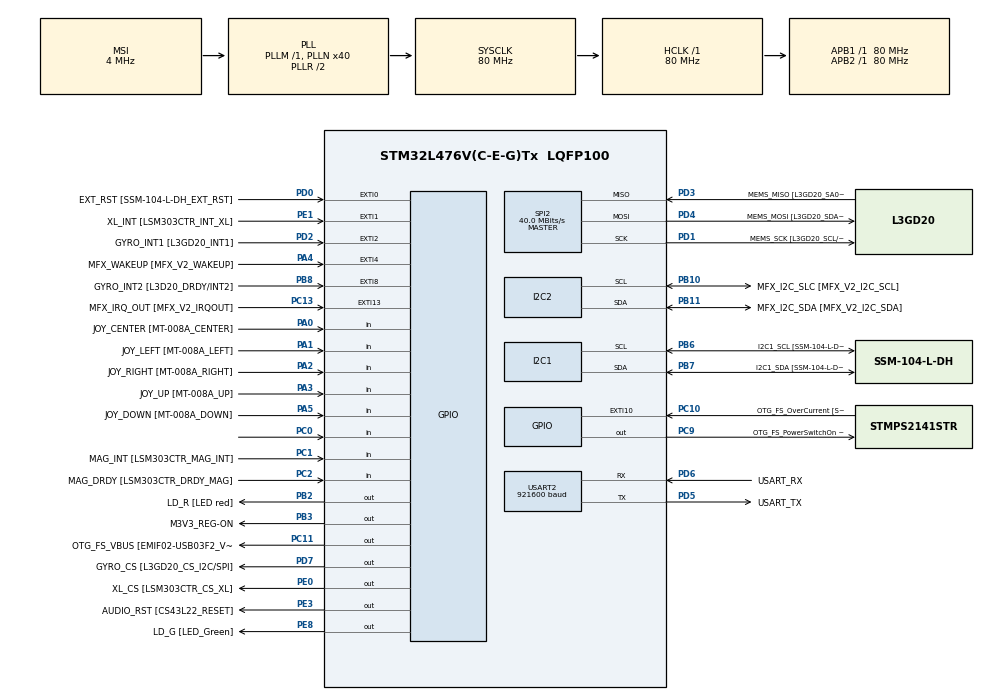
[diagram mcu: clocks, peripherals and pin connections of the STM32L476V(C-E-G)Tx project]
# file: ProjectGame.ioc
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FREERTOS.Mutexes01=display_mutex,Dynamic,NULL
FREERTOS.Tasks01=defaultTask,24,128,StartDefaultTask,Default,NULL,Dynamic,NULL,NULL
FREERTOS.configTIMER_TASK_PRIORITY=5
FREERTOS.configTOTAL_HEAP_SIZE=4000
I2C1.Timing=0x10909CEC
I2C2.Timing=0x10909CEC
Mcu.Family=STM32L4
Mcu.Name=STM32L476V(C-E-G)Tx
Mcu.Package=LQFP100
NVIC.PriorityGroup=NVIC_PRIORITYGROUP_4
NVIC.TIM2_IRQn=true\:5\:0\:false\:false\:true\:true\:true\:true
NVIC.TIM6_DAC_IRQn=true\:0\:0\:false\:false\:true\:false\:false\:true
NVIC.TimeBase=TIM6_DAC_IRQn
NVIC.TimeBaseIP=TIM6
NVIC.USART2_IRQn=true\:5\:0\:false\:false\:true\:true\:true\:true
PA0.GPIO_Label=JOY_CENTER [MT-008A_CENTER]
PA0.GPIO_Mode=GPIO_MODE_INPUT
PA0.GPIO_PuPd=GPIO_PULLDOWN
PA0.Signal=GPIO_Input
PA1.GPIO_Label=JOY_LEFT [MT-008A_LEFT]
PA1.GPIO_Mode=GPIO_MODE_INPUT
PA1.GPIO_PuPd=GPIO_PULLDOWN
PA1.Signal=GPIO_Input
PA10.GPIO_Label=COM2 [GH08172T_COM2]
PA10.GPIO_Mode=GPIO_MODE_AF_PP
PA10.GPIO_PuPd=GPIO_NOPULL
PA10.GPIO_Speed=GPIO_SPEED_FREQ_LOW
PA10.Signal=LCD_COM2
PA11.GPIO_Label=OTG_FS_DM [EMIF02-USB03F2_D-out]
PA11.GPIO_Mode=GPIO_MODE_AF_PP
PA11.GPIO_PuPd=GPIO_NOPULL
PA11.GPIO_Speed=GPIO_SPEED_FREQ_VERY_HIGH
PA11.Signal=USB_OTG_FS_DM
PA12.GPIO_Label=OTG_FS_DP [EMIF02-USB03F2_D+out]
PA12.GPIO_Mode=GPIO_MODE_AF_PP
PA12.GPIO_PuPd=GPIO_NOPULL
PA12.GPIO_Speed=GPIO_SPEED_FREQ_VERY_HIGH
PA12.Signal=USB_OTG_FS_DP
PA13\ (JTMS-SWDIO).GPIO_Label=SWDIO
PA13\ (JTMS-SWDIO).Mode=Serial_Wire
PA13\ (JTMS-SWDIO).Signal=SYS_JTMS-SWDIO
PA14\ (JTCK-SWCLK).GPIO_Label=SWCLK
PA14\ (JTCK-SWCLK).Mode=Serial_Wire
PA14\ (JTCK-SWCLK).Signal=SYS_JTCK-SWCLK
PA15\ (JTDI).GPIO_Label=SEG10 [GH08172T_SEG10]
PA15\ (JTDI).GPIO_Mode=GPIO_MODE_AF_PP
PA15\ (JTDI).GPIO_PuPd=GPIO_NOPULL
PA15\ (JTDI).GPIO_Speed=GPIO_SPEED_FREQ_LOW
PA15\ (JTDI).Signal=LCD_SEG17
PA2.GPIO_Label=JOY_RIGHT [MT-008A_RIGHT]
PA2.GPIO_Mode=GPIO_MODE_INPUT
PA2.GPIO_PuPd=GPIO_PULLDOWN
PA2.Signal=GPIO_Input
PA3.GPIO_Label=JOY_UP [MT-008A_UP]
PA3.GPIO_Mode=GPIO_MODE_INPUT
PA3.GPIO_PuPd=GPIO_PULLDOWN
PA3.Signal=GPIO_Input
PA4.GPIO_Label=MFX_WAKEUP [MFX_V2_WAKEUP]
PA4.GPIO_ModeDefaultEXTI=GPIO_MODE_EVT_RISING
PA4.GPIO_PuPd=GPIO_NOPULL
PA4.Signal=GPXTI4
PA5.GPIO_Label=JOY_DOWN [MT-008A_DOWN]
PA5.GPIO_Mode=GPIO_MODE_INPUT
PA5.GPIO_PuPd=GPIO_PULLDOWN
PA5.Signal=GPIO_Input
PA6.GPIO_Label=SEG23 [GH08172T_SEG23]
PA6.GPIO_Mode=GPIO_MODE_AF_PP
PA6.GPIO_PuPd=GPIO_NOPULL
PA6.GPIO_Speed=GPIO_SPEED_FREQ_LOW
PA6.Signal=LCD_SEG3
PA7.GPIO_Label=SEG0 [GH08172T_SEG0]
PA7.GPIO_Mode=GPIO_MODE_AF_PP
PA7.GPIO_PuPd=GPIO_NOPULL
PA7.GPIO_Speed=GPIO_SPEED_FREQ_LOW
PA7.Signal=LCD_SEG4
PA8.GPIO_Label=COM0 [GH08172T_COM0]
PA8.GPIO_Mode=GPIO_MODE_AF_PP
PA8.GPIO_PuPd=GPIO_NOPULL
PA8.GPIO_Speed=GPIO_SPEED_FREQ_LOW
PA8.Signal=LCD_COM0
PA9.GPIO_Label=COM1 [GH08172T_COM1]
PA9.GPIO_Mode=GPIO_MODE_AF_PP
PA9.GPIO_PuPd=GPIO_NOPULL
PA9.GPIO_Speed=GPIO_SPEED_FREQ_LOW
PA9.Signal=LCD_COM1
PB0.GPIO_Label=SEG21 [GH08172T_SEG21]
PB0.GPIO_Mode=GPIO_MODE_AF_PP
PB0.GPIO_PuPd=GPIO_NOPULL
PB0.GPIO_Speed=GPIO_SPEED_FREQ_LOW
PB0.Signal=LCD_SEG5
PB1.GPIO_Label=SEG2 [GH08172T_SEG2]
PB1.GPIO_Mode=GPIO_MODE_AF_PP
PB1.GPIO_PuPd=GPIO_NOPULL
PB1.GPIO_Speed=GPIO_SPEED_FREQ_LOW
PB1.Signal=LCD_SEG6
PB10.GPIO_Label=MFX_I2C_SLC [MFX_V2_I2C_SCL]
PB10.GPIO_Mode=GPIO_MODE_AF_OD
PB10.GPIO_PuPdOD=GPIO_PULLUP
PB10.GPIO_Speed=GPIO_SPEED_FREQ_VERY_HIGH
PB10.Mode=I2C
PB10.Signal=I2C2_SCL
PB11.GPIO_Label=MFX_I2C_SDA [MFX_V2_I2C_SDA]
PB11.GPIO_Mode=GPIO_MODE_AF_OD
PB11.GPIO_PuPdOD=GPIO_PULLUP
PB11.GPIO_Speed=GPIO_SPEED_FREQ_VERY_HIGH
PB11.Mode=I2C
PB11.Signal=I2C2_SDA
PB12.GPIO_Label=SEG20 [GH08172T_SEG20]
PB12.GPIO_Mode=GPIO_MODE_AF_PP
PB12.GPIO_PuPd=GPIO_NOPULL
PB12.GPIO_Speed=GPIO_SPEED_FREQ_LOW
PB12.Signal=LCD_SEG12
PB13.GPIO_Label=SEG3 [GH08172T_SEG3]
PB13.GPIO_Mode=GPIO_MODE_AF_PP
PB13.GPIO_PuPd=GPIO_NOPULL
PB13.GPIO_Speed=GPIO_SPEED_FREQ_LOW
PB13.Signal=LCD_SEG13
PB14.GPIO_Label=SEG19 [GH08172T_SEG19]
PB14.GPIO_Mode=GPIO_MODE_AF_PP
PB14.GPIO_PuPd=GPIO_NOPULL
PB14.GPIO_Speed=GPIO_SPEED_FREQ_LOW
PB14.Signal=LCD_SEG14
PB15.GPIO_Label=SEG4 [GH08172T_SEG4]
PB15.GPIO_Mode=GPIO_MODE_AF_PP
PB15.GPIO_PuPd=GPIO_NOPULL
PB15.GPIO_Speed=GPIO_SPEED_FREQ_LOW
PB15.Signal=LCD_SEG15
PB2.GPIO_Label=LD_R [LED red]
PB2.GPIO_ModeDefaultOutputPP=GPIO_MODE_OUTPUT_PP
PB2.GPIO_PuPd=GPIO_PULLUP
PB2.GPIO_Speed=GPIO_SPEED_FREQ_VERY_HIGH
PB2.Signal=GPIO_Output
PB3\ (JTDO-TRACESWO).GPIO_Label=M3V3_REG-ON
PB3\ (JTDO-TRACESWO).GPIO_ModeDefaultOutputPP=GPIO_MODE_OUTPUT_PP
PB3\ (JTDO-TRACESWO).GPIO_PuPd=GPIO_NOPULL
PB3\ (JTDO-TRACESWO).GPIO_Speed=GPIO_SPEED_FREQ_LOW
PB3\ (JTDO-TRACESWO).Signal=GPIO_Output
PB4\ (NJTRST).GPIO_Label=SEG11 [GH08172T_SEG11]
PB4\ (NJTRST).GPIO_Mode=GPIO_MODE_AF_PP
PB4\ (NJTRST).GPIO_PuPd=GPIO_NOPULL
PB4\ (NJTRST).GPIO_Speed=GPIO_SPEED_FREQ_LOW
PB4\ (NJTRST).Signal=LCD_SEG8
PB5.GPIO_Label=SEG12 [GH08172T_SEG12]
PB5.GPIO_Mode=GPIO_MODE_AF_PP
PB5.GPIO_PuPd=GPIO_NOPULL
PB5.GPIO_Speed=GPIO_SPEED_FREQ_LOW
PB5.Signal=LCD_SEG9
PB6.GPIO_FM6=__NULL
PB6.GPIO_Label=I2C1_SCL [SSM-104-L-DH_SCL]
PB6.GPIO_Mode=GPIO_MODE_AF_OD
PB6.GPIO_PuPdOD=GPIO_PULLUP
PB6.GPIO_Speed=GPIO_SPEED_FREQ_VERY_HIGH
PB6.Mode=I2C
PB6.Signal=I2C1_SCL
PB7.GPIO_FM7=__NULL
PB7.GPIO_Label=I2C1_SDA [SSM-104-L-DH_SDA]
PB7.GPIO_Mode=GPIO_MODE_AF_OD
PB7.GPIO_PuPdOD=GPIO_PULLUP
PB7.GPIO_Speed=GPIO_SPEED_FREQ_VERY_HIGH
PB7.Mode=I2C
PB7.Signal=I2C1_SDA
PB8.GPIO_Label=GYRO_INT2 [L3D20_DRDY/INT2]
PB8.GPIO_ModeDefaultEXTI=GPIO_MODE_EVT_RISING
PB8.GPIO_PuPd=GPIO_NOPULL
PB8.Signal=GPXTI8
PB9.GPIO_FM9=__NULL
PB9.GPIO_Label=COM3 [GH08172T_COM3]
PB9.GPIO_Mode=GPIO_MODE_AF_PP
PB9.GPIO_PuPd=GPIO_NOPULL
PB9.GPIO_Speed=GPIO_SPEED_FREQ_LOW
PB9.Signal=LCD_COM3
PC0.Signal=GPIO_Input
PC1.GPIO_Label=MAG_INT [LSM303CTR_MAG_INT]
PC1.GPIO_Mode=GPIO_MODE_INPUT
PC1.GPIO_PuPd=GPIO_NOPULL
PC1.Signal=GPIO_Input
PC10.GPIO_Label=OTG_FS_OverCurrent [STMPS2141STR_FAULT]
PC10.GPIO_ModeDefaultEXTI=GPIO_MODE_EVT_RISING
PC10.GPIO_PuPd=GPIO_NOPULL
PC10.Signal=GPXTI10
PC11.GPIO_Label=OTG_FS_VBUS [EMIF02-USB03F2_Vbus]
PC11.GPIO_ModeDefaultOutputPP=GPIO_MODE_OUTPUT_PP
PC11.GPIO_PuPd=GPIO_NOPULL
PC11.GPIO_Speed=GPIO_SPEED_FREQ_LOW
PC11.Signal=GPIO_Output
PC13.GPIO_Label=MFX_IRQ_OUT [MFX_V2_IRQOUT]
PC13.GPIO_ModeDefaultEXTI=GPIO_MODE_EVT_RISING
PC13.GPIO_PuPd=GPIO_NOPULL
PC13.Signal=GPXTI13
PC14-OSC32_IN\ (PC14).Mode=LSE-External-Oscillator
PC14-OSC32_IN\ (PC14).Signal=RCC_OSC32_IN
PC15-OSC32_OUT\ (PC15).Mode=LSE-External-Oscillator
PC15-OSC32_OUT\ (PC15).Signal=RCC_OSC32_OUT
PC2.GPIO_Label=MAG_DRDY [LSM303CTR_DRDY_MAG]
PC2.GPIO_Mode=GPIO_MODE_INPUT
PC2.GPIO_PuPd=GPIO_NOPULL
PC2.Signal=GPIO_Input
PC3.GPIO_Label=VLCD
PC3.GPIO_Mode=GPIO_MODE_AF_PP
PC3.GPIO_PuPd=GPIO_NOPULL
PC3.GPIO_Speed=GPIO_SPEED_FREQ_LOW
PC3.Signal=LCD_VLCD
PC4.GPIO_Label=SEG22 [GH08172T_SEG22]
PC4.GPIO_Mode=GPIO_MODE_AF_PP
PC4.GPIO_PuPd=GPIO_NOPULL
PC4.GPIO_Speed=GPIO_SPEED_FREQ_LOW
PC4.Signal=LCD_SEG22
PC5.GPIO_Label=SEG1 [GH08172T_SEG1]
PC5.GPIO_Mode=GPIO_MODE_AF_PP
PC5.GPIO_PuPd=GPIO_NOPULL
PC5.GPIO_Speed=GPIO_SPEED_FREQ_LOW
PC5.Signal=LCD_SEG23
PC6.GPIO_Label=SEG14 [GH08172T_SEG14]
PC6.GPIO_Mode=GPIO_MODE_AF_PP
PC6.GPIO_PuPd=GPIO_NOPULL
PC6.GPIO_Speed=GPIO_SPEED_FREQ_LOW
PC6.Signal=LCD_SEG24
PC7.GPIO_Label=SEG9 [GH08172T_SEG9]
PC7.GPIO_Mode=GPIO_MODE_AF_PP
PC7.GPIO_PuPd=GPIO_NOPULL
PC7.GPIO_Speed=GPIO_SPEED_FREQ_LOW
PC7.Signal=LCD_SEG25
PC8.GPIO_Label=SEG13 [GH08172T_SEG13]
PC8.GPIO_Mode=GPIO_MODE_AF_PP
PC8.GPIO_PuPd=GPIO_NOPULL
PC8.GPIO_Speed=GPIO_SPEED_FREQ_LOW
PC8.Signal=LCD_SEG26
PC9.GPIO_Label=OTG_FS_PowerSwitchOn [STMPS2141STR_EN]
PC9.GPIO_ModeDefaultOutputPP=GPIO_MODE_OUTPUT_PP
PC9.GPIO_PuPd=GPIO_NOPULL
PC9.GPIO_Speed=GPIO_SPEED_FREQ_LOW
PC9.PinState=GPIO_PIN_SET
PC9.Signal=GPIO_Output
PD0.GPIO_Label=EXT_RST [SSM-104-L-DH_EXT_RST]
PD0.GPIO_ModeDefaultEXTI=GPIO_MODE_EVT_RISING
PD0.GPIO_PuPd=GPIO_NOPULL
PD0.Signal=GPXTI0
PD1.GPIO_Label=MEMS_SCK [L3GD20_SCL/SPC]
PD1.GPIO_Mode=GPIO_MODE_AF_PP
PD1.GPIO_PuPd=GPIO_NOPULL
PD1.GPIO_Speed=GPIO_SPEED_FREQ_VERY_HIGH
PD1.Mode=Full_Duplex_Master
PD1.Signal=SPI2_SCK
PD10.GPIO_Label=SEG17 [GH08172T_SEG17]
PD10.GPIO_Mode=GPIO_MODE_AF_PP
PD10.GPIO_PuPd=GPIO_NOPULL
PD10.GPIO_Speed=GPIO_SPEED_FREQ_LOW
PD10.Signal=LCD_SEG30
PD11.GPIO_Label=SEG6 [GH08172T_SEG6]
PD11.GPIO_Mode=GPIO_MODE_AF_PP
PD11.GPIO_PuPd=GPIO_NOPULL
PD11.GPIO_Speed=GPIO_SPEED_FREQ_LOW
PD11.Signal=LCD_SEG31
PD12.GPIO_Label=SEG16 [GH08172T_SEG16]
PD12.GPIO_Mode=GPIO_MODE_AF_PP
PD12.GPIO_PuPd=GPIO_NOPULL
PD12.GPIO_Speed=GPIO_SPEED_FREQ_LOW
PD12.Signal=LCD_SEG32
PD13.GPIO_Label=SEG7 [GH08172T_SEG7]
PD13.GPIO_Mode=GPIO_MODE_AF_PP
PD13.GPIO_PuPd=GPIO_NOPULL
PD13.GPIO_Speed=GPIO_SPEED_FREQ_LOW
PD13.Signal=LCD_SEG33
PD14.GPIO_Label=SEG15 [GH08172T_SEG15]
PD14.GPIO_Mode=GPIO_MODE_AF_PP
PD14.GPIO_PuPd=GPIO_NOPULL
PD14.GPIO_Speed=GPIO_SPEED_FREQ_LOW
PD14.Signal=LCD_SEG34
PD15.GPIO_Label=SEG8 [GH08172T_SEG8]
PD15.GPIO_Mode=GPIO_MODE_AF_PP
PD15.GPIO_PuPd=GPIO_NOPULL
PD15.GPIO_Speed=GPIO_SPEED_FREQ_LOW
PD15.Signal=LCD_SEG35
PD2.GPIO_Label=GYRO_INT1 [L3GD20_INT1]
PD2.GPIO_ModeDefaultEXTI=GPIO_MODE_EVT_RISING
PD2.GPIO_PuPd=GPIO_NOPULL
PD2.Signal=GPXTI2
PD3.GPIO_Label=MEMS_MISO [L3GD20_SA0/SDO]
PD3.GPIO_Mode=GPIO_MODE_AF_PP
PD3.GPIO_PuPd=GPIO_NOPULL
PD3.GPIO_Speed=GPIO_SPEED_FREQ_VERY_HIGH
PD3.Mode=Full_Duplex_Master
PD3.Signal=SPI2_MISO
PD4.GPIO_Label=MEMS_MOSI [L3GD20_SDA/SDI/SDO]
PD4.GPIO_Mode=GPIO_MODE_AF_PP
PD4.GPIO_PuPd=GPIO_NOPULL
PD4.GPIO_Speed=GPIO_SPEED_FREQ_VERY_HIGH
PD4.Mode=Full_Duplex_Master
PD4.Signal=SPI2_MOSI
PD5.GPIO_Label=USART_TX
PD5.GPIO_Mode=GPIO_MODE_AF_PP
PD5.GPIO_PuPd=GPIO_PULLUP
PD5.GPIO_Speed=GPIO_SPEED_FREQ_VERY_HIGH
PD5.Mode=Asynchronous
PD5.Signal=USART2_TX
PD6.GPIO_Label=USART_RX
PD6.GPIO_Mode=GPIO_MODE_AF_PP
PD6.GPIO_PuPd=GPIO_PULLUP
PD6.GPIO_Speed=GPIO_SPEED_FREQ_VERY_HIGH
PD6.Mode=Asynchronous
PD6.Signal=USART2_RX
PD7.GPIO_Label=GYRO_CS [L3GD20_CS_I2C/SPI]
PD7.GPIO_ModeDefaultOutputPP=GPIO_MODE_OUTPUT_PP
PD7.GPIO_PuPd=GPIO_NOPULL
PD7.GPIO_Speed=GPIO_SPEED_FREQ_VERY_HIGH
PD7.Signal=GPIO_Output
PD8.GPIO_Label=SEG18 [GH08172T_SEG18]
PD8.GPIO_Mode=GPIO_MODE_AF_PP
PD8.GPIO_PuPd=GPIO_NOPULL
PD8.GPIO_Speed=GPIO_SPEED_FREQ_LOW
PD8.Signal=LCD_SEG28
PD9.GPIO_Label=SEG5 [GH08172T_SEG5]
PD9.GPIO_Mode=GPIO_MODE_AF_PP
PD9.GPIO_PuPd=GPIO_NOPULL
PD9.GPIO_Speed=GPIO_SPEED_FREQ_LOW
PD9.Signal=LCD_SEG29
PE0.GPIO_Label=XL_CS [LSM303CTR_CS_XL]
PE0.GPIO_ModeDefaultOutputPP=GPIO_MODE_OUTPUT_PP
PE0.GPIO_PuPd=GPIO_NOPULL
PE0.GPIO_Speed=GPIO_SPEED_FREQ_LOW
PE0.Signal=GPIO_Output
PE1.GPIO_Label=XL_INT [LSM303CTR_INT_XL]
PE1.GPIO_ModeDefaultEXTI=GPIO_MODE_EVT_RISING
PE1.GPIO_PuPd=GPIO_NOPULL
PE1.Signal=GPXTI1
PE10.GPIO_Label=QSPI_CLK [N25Q128A13EF840E_C]
PE10.GPIO_Mode=GPIO_MODE_AF_PP
PE10.GPIO_PuPd=GPIO_NOPULL
PE10.GPIO_Speed=GPIO_SPEED_FREQ_VERY_HIGH
PE10.Signal=QUADSPI_CLK
PE11.GPIO_Label=QSPI_CS [N25Q128A13EF840E_S\#]
PE11.GPIO_Mode=GPIO_MODE_AF_PP
PE11.GPIO_PuPd=GPIO_NOPULL
PE11.GPIO_Speed=GPIO_SPEED_FREQ_VERY_HIGH
PE11.Signal=QUADSPI_NCS
PE12.GPIO_Label=QSPI_D0 [N25Q128A13EF840E_DQ0]
PE12.GPIO_Mode=GPIO_MODE_AF_PP
PE12.GPIO_PuPd=GPIO_NOPULL
PE12.GPIO_Speed=GPIO_SPEED_FREQ_VERY_HIGH
PE12.Signal=QUADSPI_BK1_IO0
PE13.GPIO_Label=QSPI_D1 [N25Q128A13EF840E_DQ1]
PE13.GPIO_Mode=GPIO_MODE_AF_PP
PE13.GPIO_PuPd=GPIO_NOPULL
PE13.GPIO_Speed=GPIO_SPEED_FREQ_VERY_HIGH
PE13.Signal=QUADSPI_BK1_IO1
PE14.GPIO_Label=QSPI_D2 [N25Q128A13EF840E_DQ2]
PE14.GPIO_Mode=GPIO_MODE_AF_PP
PE14.GPIO_PuPd=GPIO_NOPULL
PE14.GPIO_Speed=GPIO_SPEED_FREQ_VERY_HIGH
PE14.Signal=QUADSPI_BK1_IO2
PE15.GPIO_Label=QSPI_D3 [N25Q128A13EF840E_DQ3]
PE15.GPIO_Mode=GPIO_MODE_AF_PP
PE15.GPIO_PuPd=GPIO_NOPULL
PE15.GPIO_Speed=GPIO_SPEED_FREQ_VERY_HIGH
PE15.Signal=QUADSPI_BK1_IO3
PE2.GPIO_Label=SAI1_MCK [CS43L22_MCLK]
PE2.GPIO_Mode=GPIO_MODE_AF_PP
PE2.GPIO_PuPd=GPIO_NOPULL
PE2.GPIO_Speed=GPIO_SPEED_FREQ_VERY_HIGH
PE2.Signal=SAI1_MCLK_A
PE3.GPIO_Label=AUDIO_RST [CS43L22_RESET]
PE3.GPIO_ModeDefaultOutputPP=GPIO_MODE_OUTPUT_PP
PE3.GPIO_PuPd=GPIO_NOPULL
PE3.GPIO_Speed=GPIO_SPEED_FREQ_HIGH
PE3.Signal=GPIO_Output
PE4.GPIO_Label=SAI1_FS [CS43L22_LRCK]
PE4.GPIO_Mode=GPIO_MODE_AF_PP
PE4.GPIO_PuPd=GPIO_NOPULL
PE4.GPIO_Speed=GPIO_SPEED_FREQ_VERY_HIGH
PE4.Signal=SAI1_FS_A
PE5.GPIO_Label=SAI1_SCK [CS43L22_SCLK]
PE5.GPIO_Mode=GPIO_MODE_AF_PP
PE5.GPIO_PuPd=GPIO_NOPULL
PE5.GPIO_Speed=GPIO_SPEED_FREQ_VERY_HIGH
PE5.Signal=SAI1_SCK_A
PE6.GPIO_Label=SAI1_SD [CS43L22_SDIN]
PE6.GPIO_Mode=GPIO_MODE_AF_PP
PE6.GPIO_PuPd=GPIO_NOPULL
PE6.GPIO_Speed=GPIO_SPEED_FREQ_VERY_HIGH
PE6.Signal=SAI1_SD_A
PE7.GPIO_Label=AUDIO_DIN [MP34DT01_DOUT]
PE7.GPIO_Mode=GPIO_MODE_AF_PP
PE7.GPIO_PuPd=GPIO_NOPULL
PE7.GPIO_Speed=GPIO_SPEED_FREQ_VERY_HIGH
PE7.Signal=SAI1_SD_B
PE8.GPIO_Label=LD_G [LED_Green]
PE8.GPIO_ModeDefaultOutputPP=GPIO_MODE_OUTPUT_PP
PE8.GPIO_PuPd=GPIO_PULLUP
PE8.GPIO_Speed=GPIO_SPEED_FREQ_VERY_HIGH
PE8.Signal=GPIO_Output
PE9.GPIO_Label=AUDIO_CLK [MP34DT01_CLK]
PE9.GPIO_Mode=GPIO_MODE_AF_PP
PE9.GPIO_PuPd=GPIO_NOPULL
PE9.GPIO_Speed=GPIO_SPEED_FREQ_LOW
PE9.Signal=SAI1_FS_B
PH0-OSC_IN\ (PH0).Mode=HSE-External-Oscillator
PH0-OSC_IN\ (PH0).Signal=RCC_OSC_IN
PH1-OSC_OUT\ (PH1).Mode=HSE-External-Oscillator
PH1-OSC_OUT\ (PH1).Signal=RCC_OSC_OUT
ProjectManager.HeapSize=0x200
ProjectManager.StackSize=0x400
ProjectManager.TargetToolchain=STM32CubeIDE
RCC.ADCFreq_Value=32000000
RCC.AHBFreq_Value=80000000
RCC.APB1Freq_Value=80000000
RCC.APB1TimFreq_Value=80000000
RCC.APB2Freq_Value=80000000
RCC.APB2TimFreq_Value=80000000
RCC.CortexFreq_Value=80000000
RCC.HCLKFreq_Value=80000000
RCC.HSE_VALUE=8000000
RCC.HSI_VALUE=16000000
RCC.MSI_VALUE=4000000
RCC.PLLN=40
RCC.PLLSAI1N=16
RCC.PREFETCH_ENABLE=1
RCC.SYSCLKFreq_VALUE=80000000
RCC.SYSCLKSource=RCC_SYSCLKSOURCE_PLLCLK
RCC.USBFreq_Value=32000000
RCC.VCOOutputFreq_Value=160000000
SPI2.CalculateBaudRate=40.0 MBits/s
SPI2.Direction=SPI_DIRECTION_2LINES
SPI2.Mode=SPI_MODE_MASTER
SPI2.VirtualType=VM_MASTER
TIM2.Channel-Output\ Compare1\ No\ Output=TIM_CHANNEL_1
TIM2.OCMode_1=TIM_OCMODE_TIMING
TIM2.Period=10000
TIM2.Prescaler=79
USART2.BaudRate=921600
USART2.VirtualMode-Asynchronous=VM_ASYNC
VP_FREERTOS_VS_CMSIS_V2.Mode=CMSIS_V2
VP_RNG_VS_RNG.Mode=RNG_Activate
VP_SYS_VS_tim6.Mode=TIM6
VP_TIM2_VS_no_output1.Mode=Output Compare1 No Output
board=STM32L476G-DISCO

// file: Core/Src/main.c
/* USER CODE BEGIN Header */
/**
 ******************************************************************************
 * @file           : main.c
 * @brief          : Main program body
 ******************************************************************************
 * @attention
 *
 * <h2><center>&copy; Copyright (c) 2020 STMicroelectronics.
 * All rights reserved.</center></h2>
 *
 * This software component is licensed by ST under Ultimate Liberty license
 * SLA0044, the "License"; You may not use this file except in compliance with
 * the License. You may obtain a copy of the License at:
 *                             www.st.com/SLA0044
 *
 ******************************************************************************
 */
/* USER CODE END Header */

#include "main.h"
#include "cmsis_os.h"

/* USER CODE BEGIN Includes */
#include <stdio.h>
#include <stdlib.h>
#include <string.h>
#include <math.h>

#include "stm32l476g_discovery.h"
#include "stm32l476g_discovery_gyroscope.h"
#include "UART_Helpers.h"
#include "mygyro.h"
#include "game.h"
/* USER CODE END Includes */

/* USER CODE BEGIN PD */
#define UART_BUFFER_SIZE (80)
#define GYRO_CAL_SIZE (50)
/* USER CODE END PD */

I2C_HandleTypeDef hi2c1;
I2C_HandleTypeDef hi2c2;

RNG_HandleTypeDef hrng;

SPI_HandleTypeDef hspi2;

TIM_HandleTypeDef htim2;

UART_HandleTypeDef huart2;

/* Definitions for defaultTask */
osThreadId_t defaultTaskHandle;
const osThreadAttr_t defaultTask_attributes = {
  .name = "defaultTask",
  .priority = (osPriority_t) osPriorityNormal,
  .stack_size = 128 * 4
};
/* Definitions for display_mutex */
osMutexId_t display_mutexHandle;
const osMutexAttr_t display_mutex_attributes = {
  .name = "display_mutex"
};
/* USER CODE BEGIN PV */
float gbl_buffer[3] = { 0 };

uint8_t gbl_uart2_transmitBuffer[UART_BUFFER_SIZE];
uint8_t gbl_uart2_receiveBuffer[UART_BUFFER_SIZE];

Gyro gyro;
Game game;
Ball b;
Goal goal;

int time_per_level[] = { 10000, 6666, 4444, 2962, 1975, 1316 };
int scores[6] = { 0 };
/* USER CODE END PV */

void SystemClock_Config(void);
static void MX_GPIO_Init(void);
static void MX_I2C1_Init(void);
static void MX_I2C2_Init(void);
static void MX_RNG_Init(void);
static void MX_SPI2_Init(void);
static void MX_USART2_UART_Init(void);
static void MX_TIM2_Init(void);
void StartDefaultTask(void *argument);

/* USER CODE BEGIN 0 */
uint8_t Rx_data[1];
int display_timer = 0;
/* USER CODE END 0 */

int main(void)
{

  /* MCU Configuration--------------------------------------------------------*/

  /* Reset of all peripherals, Initializes the Flash interface and the Systick. */
  HAL_Init();

  /* Configure the system clock */
  SystemClock_Config();

  /* Initialize all configured peripherals */
  MX_GPIO_Init();
  MX_I2C1_Init();
  MX_I2C2_Init();
  MX_RNG_Init();
  MX_SPI2_Init();
  MX_USART2_UART_Init();
  MX_TIM2_Init();
  /* USER CODE BEGIN 2 */
	HAL_UART_Receive_IT(&huart2, Rx_data, 1);

	/* Init the uart Buffers */
	for (unsigned char i = 0; i < UART_BUFFER_SIZE; i++) {
		gbl_uart2_transmitBuffer[i] = '0' + i;
		gbl_uart2_receiveBuffer[i] = 0;
	}
	sprintf((char*) gbl_uart2_transmitBuffer, "Project Game Startup\a\n\r");
	HAL_UART_Transmit(&huart2, gbl_uart2_transmitBuffer,
			strlen((char*) gbl_uart2_transmitBuffer), 100);

  /* USER CODE END 2 */

  /* Init scheduler */
  osKernelInitialize();
  /* Create the mutex(es) */
  /* creation of display_mutex */
  display_mutexHandle = osMutexNew(&display_mutex_attributes);

  /* Create the thread(s) */
  /* creation of defaultTask */
  defaultTaskHandle = osThreadNew(StartDefaultTask, NULL, &defaultTask_attributes);

  /* Start scheduler */
  osKernelStart();

  /* We should never get here as control is now taken by the scheduler */
  /* Infinite loop */
	while (1) {

	}
}

void SystemClock_Config(void)
{
  RCC_OscInitTypeDef RCC_OscInitStruct = {0};
  RCC_ClkInitTypeDef RCC_ClkInitStruct = {0};
  RCC_PeriphCLKInitTypeDef PeriphClkInit = {0};

  /** Configure LSE Drive Capability
  */
  HAL_PWR_EnableBkUpAccess();
  __HAL_RCC_LSEDRIVE_CONFIG(RCC_LSEDRIVE_LOW);
  /** Initializes the CPU, AHB and APB busses clocks
  */
  RCC_OscInitStruct.OscillatorType = RCC_OSCILLATORTYPE_LSE|RCC_OSCILLATORTYPE_MSI;
  RCC_OscInitStruct.LSEState = RCC_LSE_ON;
  RCC_OscInitStruct.MSIState = RCC_MSI_ON;
  RCC_OscInitStruct.MSICalibrationValue = 0;
  RCC_OscInitStruct.MSIClockRange = RCC_MSIRANGE_6;
  RCC_OscInitStruct.PLL.PLLState = RCC_PLL_ON;
  RCC_OscInitStruct.PLL.PLLSource = RCC_PLLSOURCE_MSI;
  RCC_OscInitStruct.PLL.PLLM = 1;
  RCC_OscInitStruct.PLL.PLLN = 40;
  RCC_OscInitStruct.PLL.PLLP = RCC_PLLP_DIV7;
  RCC_OscInitStruct.PLL.PLLQ = RCC_PLLQ_DIV2;
  RCC_OscInitStruct.PLL.PLLR = RCC_PLLR_DIV2;
  if (HAL_RCC_OscConfig(&RCC_OscInitStruct) != HAL_OK)
  {
    Error_Handler();
  }
  /** Initializes the CPU, AHB and APB busses clocks
  */
  RCC_ClkInitStruct.ClockType = RCC_CLOCKTYPE_HCLK|RCC_CLOCKTYPE_SYSCLK
                              |RCC_CLOCKTYPE_PCLK1|RCC_CLOCKTYPE_PCLK2;
  RCC_ClkInitStruct.SYSCLKSource = RCC_SYSCLKSOURCE_PLLCLK;
  RCC_ClkInitStruct.AHBCLKDivider = RCC_SYSCLK_DIV1;
  RCC_ClkInitStruct.APB1CLKDivider = RCC_HCLK_DIV1;
  RCC_ClkInitStruct.APB2CLKDivider = RCC_HCLK_DIV1;

  if (HAL_RCC_ClockConfig(&RCC_ClkInitStruct, FLASH_LATENCY_4) != HAL_OK)
  {
    Error_Handler();
  }
  PeriphClkInit.PeriphClockSelection = RCC_PERIPHCLK_USART2|RCC_PERIPHCLK_I2C1
                              |RCC_PERIPHCLK_I2C2|RCC_PERIPHCLK_RNG;
  PeriphClkInit.Usart2ClockSelection = RCC_USART2CLKSOURCE_PCLK1;
  PeriphClkInit.I2c1ClockSelection = RCC_I2C1CLKSOURCE_PCLK1;
  PeriphClkInit.I2c2ClockSelection = RCC_I2C2CLKSOURCE_PCLK1;
  PeriphClkInit.RngClockSelection = RCC_RNGCLKSOURCE_PLLSAI1;
  PeriphClkInit.PLLSAI1.PLLSAI1Source = RCC_PLLSOURCE_MSI;
  PeriphClkInit.PLLSAI1.PLLSAI1M = 1;
  PeriphClkInit.PLLSAI1.PLLSAI1N = 16;
  PeriphClkInit.PLLSAI1.PLLSAI1P = RCC_PLLP_DIV7;
  PeriphClkInit.PLLSAI1.PLLSAI1Q = RCC_PLLQ_DIV2;
  PeriphClkInit.PLLSAI1.PLLSAI1R = RCC_PLLR_DIV2;
  PeriphClkInit.PLLSAI1.PLLSAI1ClockOut = RCC_PLLSAI1_48M2CLK;
  if (HAL_RCCEx_PeriphCLKConfig(&PeriphClkInit) != HAL_OK)
  {
    Error_Handler();
  }
  /** Configure the main internal regulator output voltage
  */
  if (HAL_PWREx_ControlVoltageScaling(PWR_REGULATOR_VOLTAGE_SCALE1) != HAL_OK)
  {
    Error_Handler();
  }
  /** Enable MSI Auto calibration
  */
  HAL_RCCEx_EnableMSIPLLMode();
}

static void MX_I2C1_Init(void)
{

  hi2c1.Instance = I2C1;
  hi2c1.Init.Timing = 0x10909CEC;
  hi2c1.Init.OwnAddress1 = 0;
  hi2c1.Init.AddressingMode = I2C_ADDRESSINGMODE_7BIT;
  hi2c1.Init.DualAddressMode = I2C_DUALADDRESS_DISABLE;
  hi2c1.Init.OwnAddress2 = 0;
  hi2c1.Init.OwnAddress2Masks = I2C_OA2_NOMASK;
  hi2c1.Init.GeneralCallMode = I2C_GENERALCALL_DISABLE;
  hi2c1.Init.NoStretchMode = I2C_NOSTRETCH_DISABLE;
  if (HAL_I2C_Init(&hi2c1) != HAL_OK)
  {
    Error_Handler();
  }
  /** Configure Analogue filter
  */
  if (HAL_I2CEx_ConfigAnalogFilter(&hi2c1, I2C_ANALOGFILTER_ENABLE) != HAL_OK)
  {
    Error_Handler();
  }
  /** Configure Digital filter
  */
  if (HAL_I2CEx_ConfigDigitalFilter(&hi2c1, 0) != HAL_OK)
  {
    Error_Handler();
  }

}

static void MX_I2C2_Init(void)
{

  hi2c2.Instance = I2C2;
  hi2c2.Init.Timing = 0x10909CEC;
  hi2c2.Init.OwnAddress1 = 0;
  hi2c2.Init.AddressingMode = I2C_ADDRESSINGMODE_7BIT;
  hi2c2.Init.DualAddressMode = I2C_DUALADDRESS_DISABLE;
  hi2c2.Init.OwnAddress2 = 0;
  hi2c2.Init.OwnAddress2Masks = I2C_OA2_NOMASK;
  hi2c2.Init.GeneralCallMode = I2C_GENERALCALL_DISABLE;
  hi2c2.Init.NoStretchMode = I2C_NOSTRETCH_DISABLE;
  if (HAL_I2C_Init(&hi2c2) != HAL_OK)
  {
    Error_Handler();
  }
  /** Configure Analogue filter
  */
  if (HAL_I2CEx_ConfigAnalogFilter(&hi2c2, I2C_ANALOGFILTER_ENABLE) != HAL_OK)
  {
    Error_Handler();
  }
  /** Configure Digital filter
  */
  if (HAL_I2CEx_ConfigDigitalFilter(&hi2c2, 0) != HAL_OK)
  {
    Error_Handler();
  }

}

static void MX_RNG_Init(void)
{

  hrng.Instance = RNG;
  if (HAL_RNG_Init(&hrng) != HAL_OK)
  {
    Error_Handler();
  }

}

static void MX_SPI2_Init(void)
{

  /* SPI2 parameter configuration*/
  hspi2.Instance = SPI2;
  hspi2.Init.Mode = SPI_MODE_MASTER;
  hspi2.Init.Direction = SPI_DIRECTION_2LINES;
  hspi2.Init.DataSize = SPI_DATASIZE_4BIT;
  hspi2.Init.CLKPolarity = SPI_POLARITY_LOW;
  hspi2.Init.CLKPhase = SPI_PHASE_1EDGE;
  hspi2.Init.NSS = SPI_NSS_SOFT;
  hspi2.Init.BaudRatePrescaler = SPI_BAUDRATEPRESCALER_2;
  hspi2.Init.FirstBit = SPI_FIRSTBIT_MSB;
  hspi2.Init.TIMode = SPI_TIMODE_DISABLE;
  hspi2.Init.CRCCalculation = SPI_CRCCALCULATION_DISABLE;
  hspi2.Init.CRCPolynomial = 7;
  hspi2.Init.CRCLength = SPI_CRC_LENGTH_DATASIZE;
  hspi2.Init.NSSPMode = SPI_NSS_PULSE_ENABLE;
  if (HAL_SPI_Init(&hspi2) != HAL_OK)
  {
    Error_Handler();
  }

}

static void MX_TIM2_Init(void)
{

  TIM_MasterConfigTypeDef sMasterConfig = {0};
  TIM_OC_InitTypeDef sConfigOC = {0};

  htim2.Instance = TIM2;
  htim2.Init.Prescaler = 79;
  htim2.Init.CounterMode = TIM_COUNTERMODE_UP;
  htim2.Init.Period = 10000;
  htim2.Init.ClockDivision = TIM_CLOCKDIVISION_DIV1;
  htim2.Init.AutoReloadPreload = TIM_AUTORELOAD_PRELOAD_DISABLE;
  if (HAL_TIM_OC_Init(&htim2) != HAL_OK)
  {
    Error_Handler();
  }
  sMasterConfig.MasterOutputTrigger = TIM_TRGO_RESET;
  sMasterConfig.MasterSlaveMode = TIM_MASTERSLAVEMODE_DISABLE;
  if (HAL_TIMEx_MasterConfigSynchronization(&htim2, &sMasterConfig) != HAL_OK)
  {
    Error_Handler();
  }
  sConfigOC.OCMode = TIM_OCMODE_TIMING;
  sConfigOC.Pulse = 0;
  sConfigOC.OCPolarity = TIM_OCPOLARITY_HIGH;
  sConfigOC.OCFastMode = TIM_OCFAST_DISABLE;
  if (HAL_TIM_OC_ConfigChannel(&htim2, &sConfigOC, TIM_CHANNEL_1) != HAL_OK)
  {
    Error_Handler();
  }

}

static void MX_USART2_UART_Init(void)
{

  huart2.Instance = USART2;
  huart2.Init.BaudRate = 921600;
  huart2.Init.WordLength = UART_WORDLENGTH_8B;
  huart2.Init.StopBits = UART_STOPBITS_1;
  huart2.Init.Parity = UART_PARITY_NONE;
  huart2.Init.Mode = UART_MODE_TX_RX;
  huart2.Init.HwFlowCtl = UART_HWCONTROL_NONE;
  huart2.Init.OverSampling = UART_OVERSAMPLING_16;
  huart2.Init.OneBitSampling = UART_ONE_BIT_SAMPLE_DISABLE;
  huart2.AdvancedInit.AdvFeatureInit = UART_ADVFEATURE_NO_INIT;
  if (HAL_UART_Init(&huart2) != HAL_OK)
  {
    Error_Handler();
  }

}

static void MX_GPIO_Init(void)
{
  GPIO_InitTypeDef GPIO_InitStruct = {0};

  /* GPIO Ports Clock Enable */
  __HAL_RCC_GPIOE_CLK_ENABLE();
  __HAL_RCC_GPIOC_CLK_ENABLE();
  __HAL_RCC_GPIOH_CLK_ENABLE();
  __HAL_RCC_GPIOA_CLK_ENABLE();
  __HAL_RCC_GPIOB_CLK_ENABLE();
  __HAL_RCC_GPIOD_CLK_ENABLE();

  /*Configure GPIO pin Output Level */
  HAL_GPIO_WritePin(GPIOE, AUDIO_RST_Pin|LD_G_Pin|XL_CS_Pin, GPIO_PIN_RESET);

  /*Configure GPIO pin Output Level */
  HAL_GPIO_WritePin(GPIOB, LD_R_Pin|M3V3_REG_ON_Pin, GPIO_PIN_RESET);

  /*Configure GPIO pin Output Level */
  HAL_GPIO_WritePin(OTG_FS_PowerSwitchOn_GPIO_Port, OTG_FS_PowerSwitchOn_Pin, GPIO_PIN_SET);

  /*Configure GPIO pin Output Level */
  HAL_GPIO_WritePin(OTG_FS_VBUS_GPIO_Port, OTG_FS_VBUS_Pin, GPIO_PIN_RESET);

  /*Configure GPIO pin Output Level */
  HAL_GPIO_WritePin(GYRO_CS_GPIO_Port, GYRO_CS_Pin, GPIO_PIN_RESET);

  /*Configure GPIO pins : SAI1_MCK_Pin SAI1_FS_Pin SAI1_SCK_Pin SAI1_SD_Pin
                           AUDIO_DIN_Pin */
  GPIO_InitStruct.Pin = SAI1_MCK_Pin|SAI1_FS_Pin|SAI1_SCK_Pin|SAI1_SD_Pin
                          |AUDIO_DIN_Pin;
  GPIO_InitStruct.Mode = GPIO_MODE_AF_PP;
  GPIO_InitStruct.Pull = GPIO_NOPULL;
  GPIO_InitStruct.Speed = GPIO_SPEED_FREQ_VERY_HIGH;
  GPIO_InitStruct.Alternate = GPIO_AF13_SAI1;
  HAL_GPIO_Init(GPIOE, &GPIO_InitStruct);

  /*Configure GPIO pin : AUDIO_RST_Pin */
  GPIO_InitStruct.Pin = AUDIO_RST_Pin;
  GPIO_InitStruct.Mode = GPIO_MODE_OUTPUT_PP;
  GPIO_InitStruct.Pull = GPIO_NOPULL;
  GPIO_InitStruct.Speed = GPIO_SPEED_FREQ_HIGH;
  HAL_GPIO_Init(AUDIO_RST_GPIO_Port, &GPIO_InitStruct);

  /*Configure GPIO pins : MFX_IRQ_OUT_Pin OTG_FS_OverCurrent_Pin */
  GPIO_InitStruct.Pin = MFX_IRQ_OUT_Pin|OTG_FS_OverCurrent_Pin;
  GPIO_InitStruct.Mode = GPIO_MODE_EVT_RISING;
  GPIO_InitStruct.Pull = GPIO_NOPULL;
  HAL_GPIO_Init(GPIOC, &GPIO_InitStruct);

  /*Configure GPIO pins : PC0 MAG_INT_Pin MAG_DRDY_Pin */
  GPIO_InitStruct.Pin = GPIO_PIN_0|MAG_INT_Pin|MAG_DRDY_Pin;
  GPIO_InitStruct.Mode = GPIO_MODE_INPUT;
  GPIO_InitStruct.Pull = GPIO_NOPULL;
  HAL_GPIO_Init(GPIOC, &GPIO_InitStruct);

  /*Configure GPIO pins : VLCD_Pin SEG22_Pin SEG1_Pin SEG14_Pin
                           SEG9_Pin SEG13_Pin */
  GPIO_InitStruct.Pin = VLCD_Pin|SEG22_Pin|SEG1_Pin|SEG14_Pin
                          |SEG9_Pin|SEG13_Pin;
  GPIO_InitStruct.Mode = GPIO_MODE_AF_PP;
  GPIO_InitStruct.Pull = GPIO_NOPULL;
  GPIO_InitStruct.Speed = GPIO_SPEED_FREQ_LOW;
  GPIO_InitStruct.Alternate = GPIO_AF11_LCD;
  HAL_GPIO_Init(GPIOC, &GPIO_InitStruct);

  /*Configure GPIO pins : JOY_CENTER_Pin JOY_LEFT_Pin JOY_RIGHT_Pin JOY_UP_Pin
                           JOY_DOWN_Pin */
  GPIO_InitStruct.Pin = JOY_CENTER_Pin|JOY_LEFT_Pin|JOY_RIGHT_Pin|JOY_UP_Pin
                          |JOY_DOWN_Pin;
  GPIO_InitStruct.Mode = GPIO_MODE_INPUT;
  GPIO_InitStruct.Pull = GPIO_PULLDOWN;
  HAL_GPIO_Init(GPIOA, &GPIO_InitStruct);

  /*Configure GPIO pin : MFX_WAKEUP_Pin */
  GPIO_InitStruct.Pin = MFX_WAKEUP_Pin;
  GPIO_InitStruct.Mode = GPIO_MODE_EVT_RISING;
  GPIO_InitStruct.Pull = GPIO_NOPULL;
  HAL_GPIO_Init(MFX_WAKEUP_GPIO_Port, &GPIO_InitStruct);

  /*Configure GPIO pins : SEG23_Pin SEG0_Pin COM0_Pin COM1_Pin
                           COM2_Pin SEG10_Pin */
  GPIO_InitStruct.Pin = SEG23_Pin|SEG0_Pin|COM0_Pin|COM1_Pin
                          |COM2_Pin|SEG10_Pin;
  GPIO_InitStruct.Mode = GPIO_MODE_AF_PP;
  GPIO_InitStruct.Pull = GPIO_NOPULL;
  GPIO_InitStruct.Speed = GPIO_SPEED_FREQ_LOW;
  GPIO_InitStruct.Alternate = GPIO_AF11_LCD;
  HAL_GPIO_Init(GPIOA, &GPIO_InitStruct);

  /*Configure GPIO pins : SEG21_Pin SEG2_Pin SEG20_Pin SEG3_Pin
                           SEG19_Pin SEG4_Pin SEG11_Pin SEG12_Pin
                           COM3_Pin */
  GPIO_InitStruct.Pin = SEG21_Pin|SEG2_Pin|SEG20_Pin|SEG3_Pin
                          |SEG19_Pin|SEG4_Pin|SEG11_Pin|SEG12_Pin
                          |COM3_Pin;
  GPIO_InitStruct.Mode = GPIO_MODE_AF_PP;
  GPIO_InitStruct.Pull = GPIO_NOPULL;
  GPIO_InitStruct.Speed = GPIO_SPEED_FREQ_LOW;
  GPIO_InitStruct.Alternate = GPIO_AF11_LCD;
  HAL_GPIO_Init(GPIOB, &GPIO_InitStruct);

  /*Configure GPIO pin : LD_R_Pin */
  GPIO_InitStruct.Pin = LD_R_Pin;
  GPIO_InitStruct.Mode = GPIO_MODE_OUTPUT_PP;
  GPIO_InitStruct.Pull = GPIO_PULLUP;
  GPIO_InitStruct.Speed = GPIO_SPEED_FREQ_VERY_HIGH;
  HAL_GPIO_Init(LD_R_GPIO_Port, &GPIO_InitStruct);

  /*Configure GPIO pin : LD_G_Pin */
  GPIO_InitStruct.Pin = LD_G_Pin;
  GPIO_InitStruct.Mode = GPIO_MODE_OUTPUT_PP;
  GPIO_InitStruct.Pull = GPIO_PULLUP;
  GPIO_InitStruct.Speed = GPIO_SPEED_FREQ_VERY_HIGH;
  HAL_GPIO_Init(LD_G_GPIO_Port, &GPIO_InitStruct);

  /*Configure GPIO pin : AUDIO_CLK_Pin */
  GPIO_InitStruct.Pin = AUDIO_CLK_Pin;
  GPIO_InitStruct.Mode = GPIO_MODE_AF_PP;
  GPIO_InitStruct.Pull = GPIO_NOPULL;
  GPIO_InitStruct.Speed = GPIO_SPEED_FREQ_LOW;
  GPIO_InitStruct.Alternate = GPIO_AF13_SAI1;
  HAL_GPIO_Init(AUDIO_CLK_GPIO_Port, &GPIO_InitStruct);

  /*Configure GPIO pins : QSPI_CLK_Pin QSPI_CS_Pin QSPI_D0_Pin QSPI_D1_Pin
                           QSPI_D2_Pin QSPI_D3_Pin */
  GPIO_InitStruct.Pin = QSPI_CLK_Pin|QSPI_CS_Pin|QSPI_D0_Pin|QSPI_D1_Pin
                          |QSPI_D2_Pin|QSPI_D3_Pin;
  GPIO_InitStruct.Mode = GPIO_MODE_AF_PP;
  GPIO_InitStruct.Pull = GPIO_NOPULL;
  GPIO_InitStruct.Speed = GPIO_SPEED_FREQ_VERY_HIGH;
  GPIO_InitStruct.Alternate = GPIO_AF10_QUADSPI;
  HAL_GPIO_Init(GPIOE, &GPIO_InitStruct);

  /*Configure GPIO pins : SEG18_Pin SEG5_Pin SEG17_Pin SEG6_Pin
                           SEG16_Pin SEG7_Pin SEG15_Pin SEG8_Pin */
  GPIO_InitStruct.Pin = SEG18_Pin|SEG5_Pin|SEG17_Pin|SEG6_Pin
                          |SEG16_Pin|SEG7_Pin|SEG15_Pin|SEG8_Pin;
  GPIO_InitStruct.Mode = GPIO_MODE_AF_PP;
  GPIO_InitStruct.Pull = GPIO_NOPULL;
  GPIO_InitStruct.Speed = GPIO_SPEED_FREQ_LOW;
  GPIO_InitStruct.Alternate = GPIO_AF11_LCD;
  HAL_GPIO_Init(GPIOD, &GPIO_InitStruct);

  /*Configure GPIO pins : OTG_FS_PowerSwitchOn_Pin OTG_FS_VBUS_Pin */
  GPIO_InitStruct.Pin = OTG_FS_PowerSwitchOn_Pin|OTG_FS_VBUS_Pin;
  GPIO_InitStruct.Mode = GPIO_MODE_OUTPUT_PP;
  GPIO_InitStruct.Pull = GPIO_NOPULL;
  GPIO_InitStruct.Speed = GPIO_SPEED_FREQ_LOW;
  HAL_GPIO_Init(GPIOC, &GPIO_InitStruct);

  /*Configure GPIO pins : OTG_FS_DM_Pin OTG_FS_DP_Pin */
  GPIO_InitStruct.Pin = OTG_FS_DM_Pin|OTG_FS_DP_Pin;
  GPIO_InitStruct.Mode = GPIO_MODE_AF_PP;
  GPIO_InitStruct.Pull = GPIO_NOPULL;
  GPIO_InitStruct.Speed = GPIO_SPEED_FREQ_VERY_HIGH;
  GPIO_InitStruct.Alternate = GPIO_AF10_OTG_FS;
  HAL_GPIO_Init(GPIOA, &GPIO_InitStruct);

  /*Configure GPIO pins : EXT_RST_Pin GYRO_INT1_Pin */
  GPIO_InitStruct.Pin = EXT_RST_Pin|GYRO_INT1_Pin;
  GPIO_InitStruct.Mode = GPIO_MODE_EVT_RISING;
  GPIO_InitStruct.Pull = GPIO_NOPULL;
  HAL_GPIO_Init(GPIOD, &GPIO_InitStruct);

  /*Configure GPIO pin : GYRO_CS_Pin */
  GPIO_InitStruct.Pin = GYRO_CS_Pin;
  GPIO_InitStruct.Mode = GPIO_MODE_OUTPUT_PP;
  GPIO_InitStruct.Pull = GPIO_NOPULL;
  GPIO_InitStruct.Speed = GPIO_SPEED_FREQ_VERY_HIGH;
  HAL_GPIO_Init(GYRO_CS_GPIO_Port, &GPIO_InitStruct);

  /*Configure GPIO pin : M3V3_REG_ON_Pin */
  GPIO_InitStruct.Pin = M3V3_REG_ON_Pin;
  GPIO_InitStruct.Mode = GPIO_MODE_OUTPUT_PP;
  GPIO_InitStruct.Pull = GPIO_NOPULL;
  GPIO_InitStruct.Speed = GPIO_SPEED_FREQ_LOW;
  HAL_GPIO_Init(M3V3_REG_ON_GPIO_Port, &GPIO_InitStruct);

  /*Configure GPIO pin : GYRO_INT2_Pin */
  GPIO_InitStruct.Pin = GYRO_INT2_Pin;
  GPIO_InitStruct.Mode = GPIO_MODE_EVT_RISING;
  GPIO_InitStruct.Pull = GPIO_NOPULL;
  HAL_GPIO_Init(GYRO_INT2_GPIO_Port, &GPIO_InitStruct);

  /*Configure GPIO pin : XL_CS_Pin */
  GPIO_InitStruct.Pin = XL_CS_Pin;
  GPIO_InitStruct.Mode = GPIO_MODE_OUTPUT_PP;
  GPIO_InitStruct.Pull = GPIO_NOPULL;
  GPIO_InitStruct.Speed = GPIO_SPEED_FREQ_LOW;
  HAL_GPIO_Init(XL_CS_GPIO_Port, &GPIO_InitStruct);

  /*Configure GPIO pin : XL_INT_Pin */
  GPIO_InitStruct.Pin = XL_INT_Pin;
  GPIO_InitStruct.Mode = GPIO_MODE_EVT_RISING;
  GPIO_InitStruct.Pull = GPIO_NOPULL;
  HAL_GPIO_Init(XL_INT_GPIO_Port, &GPIO_InitStruct);

}

/* USER CODE BEGIN 4 */
int32_t xth = 0;
int32_t yth = 0;

int32_t xth_offset = 0;
int32_t yth_offset = 0;

void HAL_UART_RxCpltCallback(UART_HandleTypeDef *huart) {
	HAL_UART_Receive_IT(&huart2, Rx_data, 1);
}

void print_scores() {

	int max_lvl = game.lvl;
	uint8_t esc[1] = { 27 };
	HAL_UART_Transmit(&huart2, esc, strlen(esc), HAL_MAX_DELAY);
	HAL_UART_Transmit(&huart2, "[2J", strlen("[2J"), HAL_MAX_DELAY);
	HAL_UART_Transmit(&huart2, esc, strlen(esc), HAL_MAX_DELAY);
	HAL_UART_Transmit(&huart2, "[H", strlen("[H"), HAL_MAX_DELAY);

	HAL_UART_Transmit(&huart2, "GAME OVER\r\n\nHere are the scores:\r\n\r\n",
			strlen("GAME OVER\r\n\nHere are the scores:\r\n\r\n"),
			HAL_MAX_DELAY);
	HAL_UART_Transmit(&huart2, "MAX LVL ACHIEVED: ",
			strlen("MAX LVL ACHIEVED: "), HAL_MAX_DELAY);
	UART_print(max_lvl);
	HAL_UART_Transmit(&huart2, "\r\n\n", strlen("\r\n\n"), HAL_MAX_DELAY);
	HAL_UART_Transmit(&huart2, "\r\nLvL 1: ", strlen("\r\nLvL 1: "),
	HAL_MAX_DELAY);
	UART_print(scores[0]);
	HAL_UART_Transmit(&huart2, "\r\nLvL 2: ", strlen("\r\nLvL 2: "),
	HAL_MAX_DELAY);
	UART_print(scores[1]);
	HAL_UART_Transmit(&huart2, "\r\nLvL 3: ", strlen("\r\nLvL 3: "),
	HAL_MAX_DELAY);
	UART_print(scores[2]);
	HAL_UART_Transmit(&huart2, "\r\nLvL 4: ", strlen("\r\nLvL 4: "),
	HAL_MAX_DELAY);
	UART_print(scores[3]);
	HAL_UART_Transmit(&huart2, "\r\nLvL 5: ", strlen("\r\nLvL 5: "),
	HAL_MAX_DELAY);
	UART_print(scores[4]);
	HAL_UART_Transmit(&huart2, "\r\nLvL 6: ", strlen("\r\nLvL 6: "),
	HAL_MAX_DELAY);
	UART_print(scores[5]);
	HAL_UART_Transmit(&huart2, "\r\n\nPress enter to quit...",
			strlen("\r\n\nPress enter to quit..."), HAL_MAX_DELAY);
	wait_for_key(13);
}

void HAL_TIM_OC_DelayElapsedCallback(TIM_HandleTypeDef *htim) {
	if (htim->Instance == TIM2) {
		display_timer++;
	}
}

/* USER CODE END 4 */

void StartDefaultTask(void *argument)
{
  /* USER CODE BEGIN 5 */
	if (BSP_GYRO_Init() != HAL_OK) {
		/* Initialization Error */
		Error_Handler();
	}
	srand(HAL_GetTick());
	init_gyro(&gyro);
	init_ball(&b);
	random_goal(&goal);
	init_game(&game, &b, &goal);
	while (calibrate_gyro(&gyro))
		;

	HAL_TIM_OC_Start_IT(&htim2, TIM_CHANNEL_1); // Start display timer
	while (1) {
//		osDelay(1);

//		print_dmeasurement(&gyro);
		if (display_timer > 5) { // 15 hz
			if ((time_per_level[game.lvl - 1] -= 50) < 0) {
				//Time is up
				HAL_TIM_OC_Stop_IT(&htim2, TIM_CHANNEL_1);
				HAL_GPIO_TogglePin(GPIOB, GPIO_PIN_2);
				HAL_Delay(200);
				HAL_GPIO_TogglePin(GPIOB, GPIO_PIN_2);
				print_scores();
				return 0;
			}
			set_score(&game, time_per_level[game.lvl - 1]);
			get_measurement(&gyro);
			move_ball(&game, -gyro.x, gyro.y);
			if (game_check(&game)) {
				// Game is done
				HAL_TIM_OC_Stop_IT(&htim2, TIM_CHANNEL_1);
				HAL_GPIO_TogglePin(GPIOB, GPIO_PIN_2);
				HAL_Delay(200);
				HAL_GPIO_TogglePin(GPIOB, GPIO_PIN_2);
				game.lvl--;
				print_scores();
				return 0;
			}
			display_timer = 0;
			update_board(&game);
			display_board(&game);
			print_info(&game);
//			print_dmeasurement(&gyro);
		}
	}
	/* Infinite loop */
//	for (;;) {
//		/* Get Raw values */
//		BSP_GYRO_GetXYZ(gbl_buffer);
//		int32_t xpos = gbl_buffer[0];
//		int32_t ypos = gbl_buffer[1];
//		sprintf((char*) gbl_uart2_transmitBuffer, "$%d %d %d;\r\n",
//				(int32_t) gbl_buffer[0], (int32_t) gbl_buffer[1],
//				(int32_t) gbl_buffer[2]);
////	HAL_UART_Transmit(&huart2, gbl_uart2_transmitBuffer, strlen((char *)gbl_uart2_transmitBuffer),100);
//	}
//	osMutexAcquire(display_mutexHandle, 1);
//	display_board(&game);
//	osMutexRelease(display_mutexHandle);
  /* USER CODE END 5 */
}

 /**
  * @brief  Period elapsed callback in non blocking mode
  * @note   This function is called  when TIM6 interrupt took place, inside
  * HAL_TIM_IRQHandler(). It makes a direct call to HAL_IncTick() to increment
  * a global variable "uwTick" used as application time base.
  * @param  htim : TIM handle
  * @retval None
  */
void HAL_TIM_PeriodElapsedCallback(TIM_HandleTypeDef *htim)
{
  if (htim->Instance == TIM6) {
    HAL_IncTick();
  }
}

void Error_Handler(void)
{
}

/************************ (C) COPYRIGHT STMicroelectronics *****END OF FILE****/
